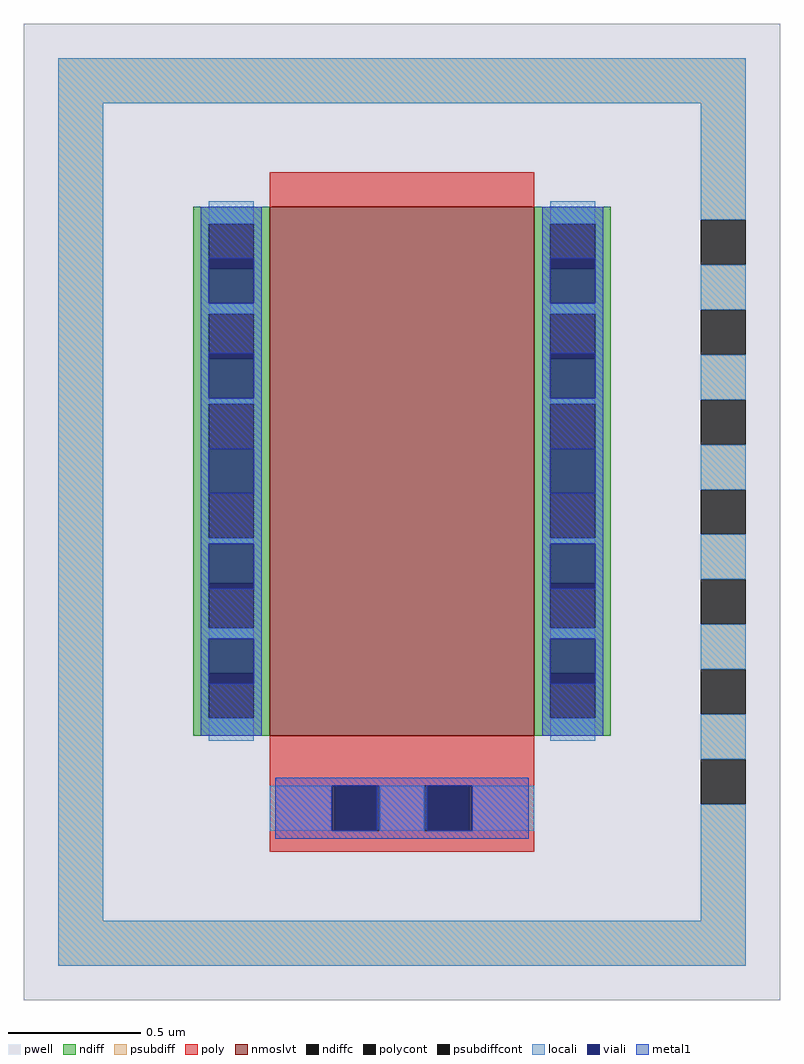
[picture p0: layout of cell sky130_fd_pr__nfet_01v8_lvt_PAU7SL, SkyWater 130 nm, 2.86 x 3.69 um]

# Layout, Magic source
magic
tech sky130A
magscale 1 2
<< pwell >>
rect -286 -369 286 369
<< nmoslvt >>
rect -100 -169 100 231
<< ndiff >>
rect -158 218 -100 231
rect -158 184 -146 218
rect -112 184 -100 218
rect -158 150 -100 184
rect -158 116 -146 150
rect -112 116 -100 150
rect -158 82 -100 116
rect -158 48 -146 82
rect -112 48 -100 82
rect -158 14 -100 48
rect -158 -20 -146 14
rect -112 -20 -100 14
rect -158 -54 -100 -20
rect -158 -88 -146 -54
rect -112 -88 -100 -54
rect -158 -122 -100 -88
rect -158 -156 -146 -122
rect -112 -156 -100 -122
rect -158 -169 -100 -156
rect 100 218 158 231
rect 100 184 112 218
rect 146 184 158 218
rect 100 150 158 184
rect 100 116 112 150
rect 146 116 158 150
rect 100 82 158 116
rect 100 48 112 82
rect 146 48 158 82
rect 100 14 158 48
rect 100 -20 112 14
rect 146 -20 158 14
rect 100 -54 158 -20
rect 100 -88 112 -54
rect 146 -88 158 -54
rect 100 -122 158 -88
rect 100 -156 112 -122
rect 146 -156 158 -122
rect 100 -169 158 -156
<< ndiffc >>
rect -146 184 -112 218
rect -146 116 -112 150
rect -146 48 -112 82
rect -146 -20 -112 14
rect -146 -88 -112 -54
rect -146 -156 -112 -122
rect 112 184 146 218
rect 112 116 146 150
rect 112 48 146 82
rect 112 -20 146 14
rect 112 -88 146 -54
rect 112 -156 146 -122
<< psubdiff >>
rect -260 309 260 343
rect -260 -309 -226 309
rect 226 221 260 309
rect 226 153 260 187
rect 226 85 260 119
rect 226 17 260 51
rect 226 -51 260 -17
rect 226 -119 260 -85
rect 226 -187 260 -153
rect 226 -309 260 -221
rect -260 -343 260 -309
<< psubdiffcont >>
rect 226 187 260 221
rect 226 119 260 153
rect 226 51 260 85
rect 226 -17 260 17
rect 226 -85 260 -51
rect 226 -153 260 -119
rect 226 -221 260 -187
<< poly >>
rect -100 231 100 257
rect -100 -207 100 -169
rect -100 -241 -51 -207
rect -17 -241 17 -207
rect 51 -241 100 -207
rect -100 -257 100 -241
<< polycont >>
rect -51 -241 -17 -207
rect 17 -241 51 -207
<< locali >>
rect -260 309 260 343
rect -260 -309 -226 309
rect -146 218 -112 235
rect -146 150 -112 158
rect -146 82 -112 86
rect -146 -24 -112 -20
rect -146 -96 -112 -88
rect -146 -173 -112 -156
rect 112 218 146 235
rect 112 150 146 158
rect 112 82 146 86
rect 112 -24 146 -20
rect 112 -96 146 -88
rect 112 -173 146 -156
rect 226 221 260 309
rect 226 153 260 187
rect 226 85 260 119
rect 226 17 260 51
rect 226 -51 260 -17
rect 226 -119 260 -85
rect 226 -187 260 -153
rect -100 -241 -53 -207
rect -17 -241 17 -207
rect 53 -241 100 -207
rect 226 -309 260 -221
rect -260 -343 260 -309
<< viali >>
rect -146 184 -112 192
rect -146 158 -112 184
rect -146 116 -112 120
rect -146 86 -112 116
rect -146 14 -112 48
rect -146 -54 -112 -24
rect -146 -58 -112 -54
rect -146 -122 -112 -96
rect -146 -130 -112 -122
rect 112 184 146 192
rect 112 158 146 184
rect 112 116 146 120
rect 112 86 146 116
rect 112 14 146 48
rect 112 -54 146 -24
rect 112 -58 146 -54
rect 112 -122 146 -96
rect 112 -130 146 -122
rect -53 -241 -51 -207
rect -51 -241 -19 -207
rect 19 -241 51 -207
rect 51 -241 53 -207
<< metal1 >>
rect -152 192 -106 231
rect -152 158 -146 192
rect -112 158 -106 192
rect -152 120 -106 158
rect -152 86 -146 120
rect -112 86 -106 120
rect -152 48 -106 86
rect -152 14 -146 48
rect -112 14 -106 48
rect -152 -24 -106 14
rect -152 -58 -146 -24
rect -112 -58 -106 -24
rect -152 -96 -106 -58
rect -152 -130 -146 -96
rect -112 -130 -106 -96
rect -152 -169 -106 -130
rect 106 192 152 231
rect 106 158 112 192
rect 146 158 152 192
rect 106 120 152 158
rect 106 86 112 120
rect 146 86 152 120
rect 106 48 152 86
rect 106 14 112 48
rect 146 14 152 48
rect 106 -24 152 14
rect 106 -58 112 -24
rect 146 -58 152 -24
rect 106 -96 152 -58
rect 106 -130 112 -96
rect 146 -130 152 -96
rect 106 -169 152 -130
rect -96 -207 96 -201
rect -96 -241 -53 -207
rect -19 -241 19 -207
rect 53 -241 96 -207
rect -96 -247 96 -241
<< properties >>
string FIXED_BBOX -243 -326 243 326
<< end >>
